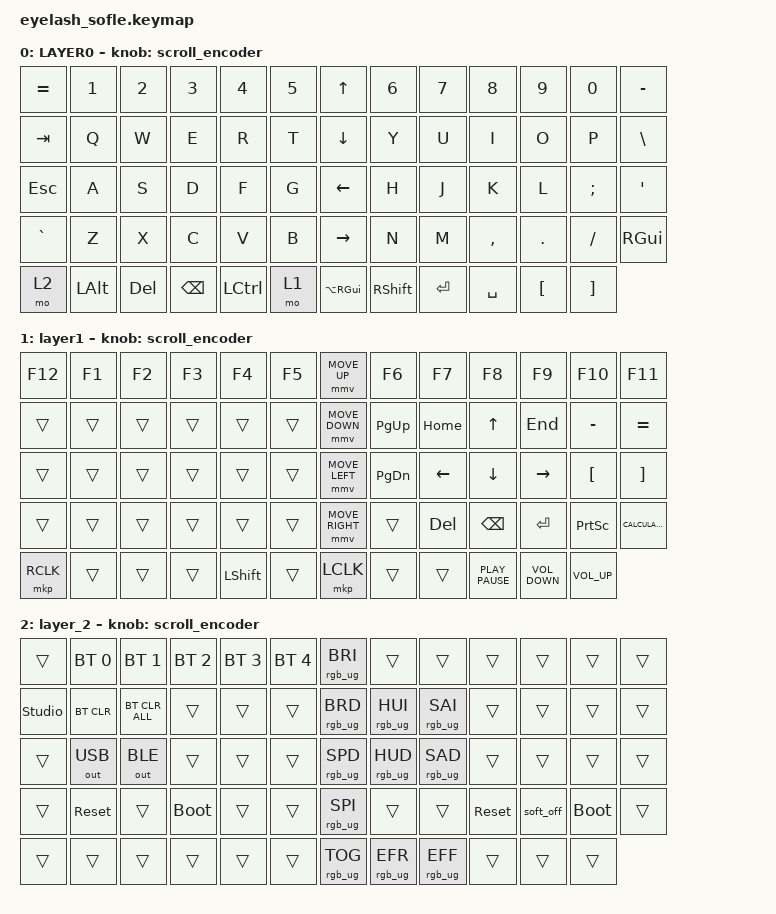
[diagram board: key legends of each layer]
#include <dt-bindings/zmk/mouse.h>
#include <input/processors.dtsi>
#include <behaviors.dtsi>
#include <dt-bindings/zmk/bt.h>
#include <dt-bindings/zmk/keys.h>
#include <dt-bindings/zmk/outputs.h>
#include <dt-bindings/zmk/pointing.h>
#include <dt-bindings/zmk/rgb.h>

/*

   &mmv_input_listener {
       input-processors = <&zip_xy_scaler 2 1>;
   };

   &msc_input_listener {
       input-processors = <&zip_xy_scaler 2 1>;
   };

 */

#define ZMK_MOUSE_DEFAULT_MOVE_VAL 1200  // 600
#define ZMK_MOUSE_DEFAULT_SCRL_VAL 20    // 10

/ {
    behaviors {
        mmv {
            acceleration-exponent = <1>;      // 1
            time-to-max-speed-ms = <900>;    // 40
            delay-ms = <0>;                   // 0
        };

        msc {
            acceleration-exponent = <1>;      // 0
            time-to-max-speed-ms = <400>;      // 500
            delay-ms = <0>;                   //   10
        };
    };

    scroll_encoder: scroll_encoder {
        compatible = "zmk,behavior-sensor-rotate";
        #sensor-binding-cells = <0>;
        bindings = <&msc SCRL_DOWN>, <&msc SCRL_UP>;

        tap-ms = <30>;
    };

    keymap {
        compatible = "zmk,keymap";

        layer0 {
            bindings = <
&kp EQUAL   &kp N1        &kp N2   &kp N3         &kp N4            &kp N5    &kp UP_ARROW       &kp N6           &kp N7     &kp N8     &kp N9            &kp N0             &kp MINUS
&kp TAB     &kp Q         &kp W    &kp E          &kp R             &kp T     &kp DOWN_ARROW     &kp Y            &kp U      &kp I      &kp O             &kp P              &kp BSLH
&kp ESCAPE  &kp A         &kp S    &kp D          &kp F             &kp G     &kp LEFT_ARROW     &kp H            &kp J      &kp K      &kp L             &kp SEMI           &kp APOS
&kp GRAVE   &kp Z         &kp X    &kp C          &kp V             &kp B     &kp RIGHT_ARROW    &kp N            &kp M      &kp COMMA  &kp DOT           &kp FSLH           &kp RIGHT_GUI
&mo 2       &kp LEFT_ALT  &kp DEL  &kp BACKSPACE  &kp LEFT_CONTROL  &mo 1     &kp LA(RIGHT_GUI)  &kp RIGHT_SHIFT  &kp ENTER  &kp SPACE  &kp LEFT_BRACKET  &kp RIGHT_BRACKET
            >;

            sensor-bindings = <&scroll_encoder>;
            display-name = "LAYER0";
        };

        layer_1 {
            bindings = <
&kp F12    &kp F1  &kp F2  &kp F3  &kp F4          &kp F5    &mmv MOVE_UP     &kp F6     &kp F7      &kp F8            &kp F9             &kp F10           &kp F11
&trans     &trans  &trans  &trans  &trans          &trans    &mmv MOVE_DOWN   &kp PG_UP  &kp HOME    &kp UP            &kp END            &kp MINUS         &kp EQUAL
&trans     &trans  &trans  &trans  &trans          &trans    &mmv MOVE_LEFT   &kp PG_DN  &kp LEFT    &kp DOWN          &kp RIGHT          &kp LEFT_BRACKET  &kp RIGHT_BRACKET
&trans     &trans  &trans  &trans  &trans          &trans    &mmv MOVE_RIGHT  &trans     &kp DELETE  &kp BACKSPACE     &kp ENTER          &kp PRINTSCREEN   &kp K_CALCULATOR
&mkp RCLK  &trans  &trans  &trans  &kp LEFT_SHIFT  &trans    &mkp LCLK        &trans     &trans      &kp K_PLAY_PAUSE  &kp K_VOLUME_DOWN  &kp K_VOLUME_UP
            >;

            display-name = "layer1";
            sensor-bindings = <&scroll_encoder>;
        };

        layer_2 {
            bindings = <
&trans          &bt BT_SEL 0  &bt BT_SEL 1    &bt BT_SEL 2  &bt BT_SEL 3  &bt BT_SEL 4    &rgb_ug RGB_BRI  &trans           &trans           &trans      &trans     &trans       &trans
&studio_unlock  &bt BT_CLR    &bt BT_CLR_ALL  &trans        &trans        &trans          &rgb_ug RGB_BRD  &rgb_ug RGB_HUI  &rgb_ug RGB_SAI  &trans      &trans     &trans       &trans
&trans          &out OUT_USB  &out OUT_BLE    &trans        &trans        &trans          &rgb_ug RGB_SPD  &rgb_ug RGB_HUD  &rgb_ug RGB_SAD  &trans      &trans     &trans       &trans
&trans          &sys_reset    &trans          &bootloader   &trans        &trans          &rgb_ug RGB_SPI  &trans           &trans           &sys_reset  &soft_off  &bootloader  &trans
&trans          &trans        &trans          &trans        &trans        &trans          &rgb_ug RGB_TOG  &rgb_ug RGB_EFR  &rgb_ug RGB_EFF  &trans      &trans     &trans
            >;

            sensor-bindings = <&scroll_encoder>;
        };
    };
};
